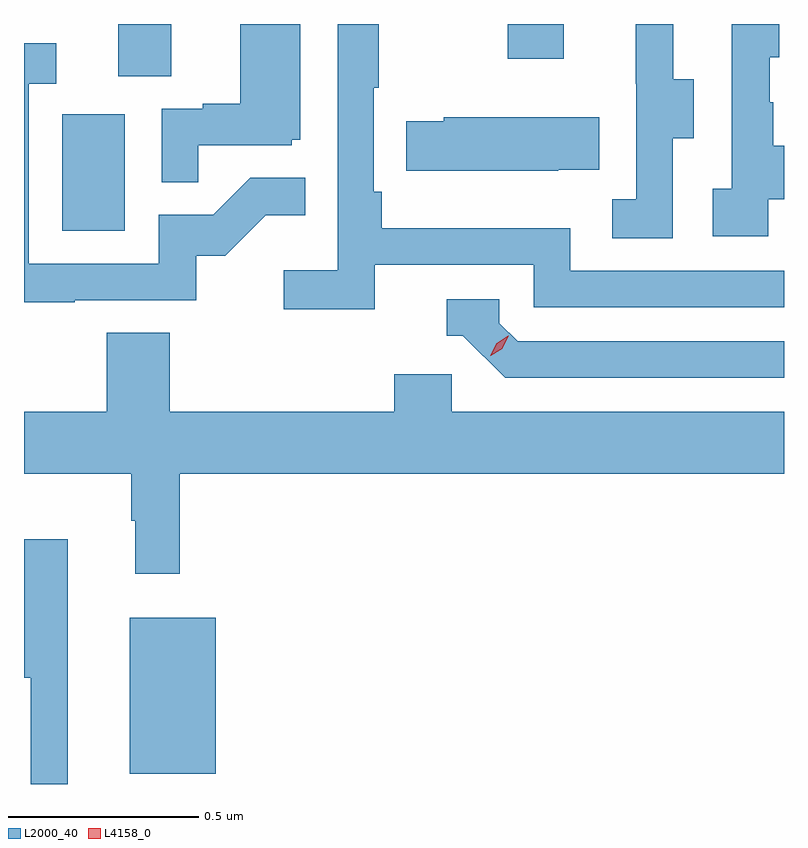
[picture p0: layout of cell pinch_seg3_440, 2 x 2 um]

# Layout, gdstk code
import gdstk
lib = gdstk.Library(unit=1e-6, precision=1e-09)
def R(c, l, rs):  # rectangles x0, y0, x1, y1
    for r in rs: c.add(gdstk.rectangle(r[:2], r[2:], *l))
def P(c, l, *ps):  # polygons
    for p in ps: c.add(gdstk.Polygon(p, *l))
L2000_40 = (2000, 40)
L4158_0 = (4158, 0)

pinch_seg3_440 = lib.new_cell('pinch_seg3_440')
R(pinch_seg3_440, L2000_40, [(897.653,697.463,897.88,697.873), (897.476,698.892,897.64,699.199), (897.623,699.298,897.763,699.436), (898.648,699.345,898.795,699.436)])
P(pinch_seg3_440, L2000_40, [(898.298,698.802),(898.716,698.802),(898.716,698.691),(899.375,698.691),(899.375,698.787),(898.812,698.787),(898.812,698.899),(898.316,698.899),(898.316,698.995),(898.296,698.995),(898.296,699.268),(898.309,699.268),(898.309,699.436),(898.2,699.436),(898.2,698.788),(898.059,698.788),(898.059,698.686),(898.298,698.686)],
  [(899.334,698.975),(899.375,698.975),(899.375,699.115),(899.347,699.115),(899.347,699.23),(899.337,699.23),(899.337,699.348),(899.362,699.348),(899.362,699.436),(899.238,699.436),(899.238,699.002),(899.187,699.002),(899.187,698.877),(899.334,698.877)],
  [(899.082,699.136),(899.137,699.136),(899.137,699.291),(899.083,699.291),(899.083,699.436),(898.985,699.436),(898.985,699.279),(898.986,699.279),(898.986,698.975),(898.923,698.975),(898.923,698.872),(899.082,698.872)],
  [(897.833,699.117),(898.08,699.117),(898.08,699.132),(898.102,699.132),(898.102,699.436),(897.944,699.436),(897.944,699.226),(897.845,699.226),(897.845,699.213),(897.738,699.213),(897.738,699.019),(897.833,699.019)],
  [(897.509,698.709),(897.828,698.709),(897.828,698.826),(897.904,698.826),(898.011,698.933),(898.115,698.933),(898.115,699.032),(897.971,699.032),(897.873,698.934),(897.729,698.934),(897.729,698.805),(897.387,698.805),(897.387,699.279),(897.46,699.279),(897.46,699.385),(897.375,699.385),(897.375,698.704),(897.509,698.704)],
  [(898.781,699.053),(898.889,699.053),(898.889,699.19),(898.479,699.19),(898.479,699.18),(898.381,699.18),(898.381,699.05),(898.781,699.05)],
  [(899.375,698.601),(898.674,698.601),(898.626,698.649),(898.626,698.712),(898.487,698.712),(898.487,698.616),(898.53,698.616),(898.641,698.505),(899.375,698.505)],
  [(897.785,698.252),(899.375,698.252),(899.375,698.416),(898.5,698.416),(898.5,698.514),(898.349,698.514),(898.349,698.416),(897.758,698.416),(897.758,698.624),(897.593,698.624),(897.593,698.416),(897.375,698.416),(897.375,698.252),(897.657,698.252),(897.657,698.129),(897.668,698.129),(897.668,697.989),(897.785,697.989)],
  [(897.49,698.08),(897.375,698.08),(897.375,697.715),(897.393,697.715),(897.393,697.436),(897.49,697.436)])
P(pinch_seg3_440, L4158_0, [(898.602,698.563),(898.602,698.563),(898.619,698.596),(898.649,698.615),(898.65,698.615),(898.65,698.615),(898.634,698.582),(898.603,698.563)])

lib.write_gds('pinch_seg3_440.gds')
